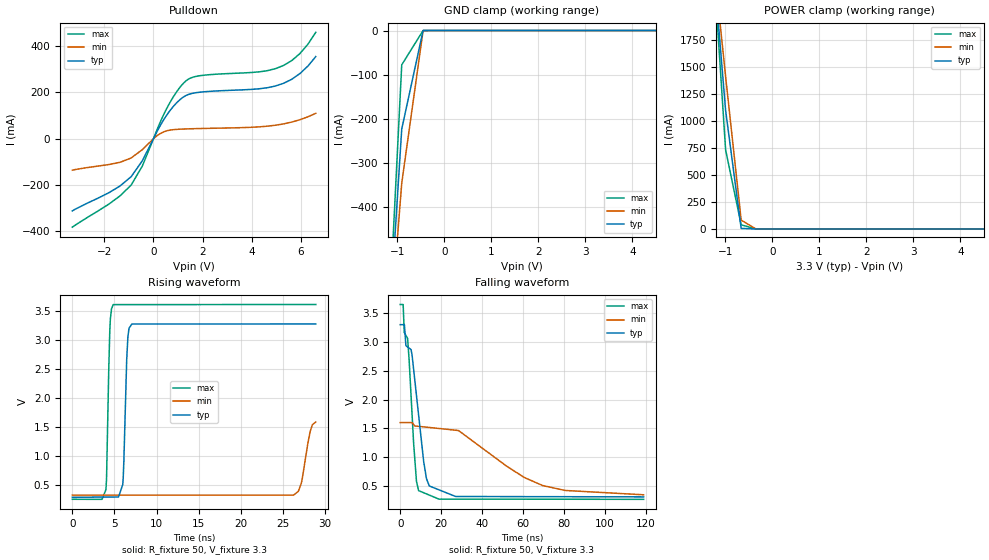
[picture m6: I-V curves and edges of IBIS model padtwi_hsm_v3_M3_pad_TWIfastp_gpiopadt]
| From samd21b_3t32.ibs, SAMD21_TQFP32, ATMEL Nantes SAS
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|   MODEL : padtwi_hsm_v3_M3_pad_TWIfastp_gpiopadt
[Model] padtwi_hsm_v3_M3_pad_TWIfastp_gpiopadt
Model_type I/O_open_sink
Vinl  =  0.99
Vinh  =  2.31
Vmeas =  1.650
| Capacitance   typ   min   max
C_comp   2.23028031852e-12   2.18517971039e-12   2.39294312131e-12
| Variables   typ   min   max
[GND Clamp Reference]   0   0   0
[POWER Clamp Reference]   3.3   1.6   3.65
[Pulldown Reference]   0   0   0
[Pullup Reference]   3.3   1.6   3.65
[Temperature Range]   25   105   -40
[Voltage Range]   3.3   1.6   3.65
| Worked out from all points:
|   slope of the pulldown table from 0 to 0.495 V, typ, clamps not added: 5.21 ohm
|   rising waveform, R_fixture 50, V_fixture 3.3: 20-80 % time 351ps typ, 867ps min, 301ps max; typ from 0.294 V to 3.29 V
|   falling waveform, R_fixture 50, V_fixture 3.3: 20-80 % time 5.53ns typ, 31.1ns min, 3.4ns max; typ from 3.3 V to 0.311 V
[GND Clamp]
| Voltage   I(typ)   I(min)   I(max)
-3.3V     -4.288A    -3.659A    -5.225A
-1.364V   -989.3mA   -964.6mA   -1.051A
-909.1mV  -223.9mA   -346.9mA   -77.99mA
-454.5mV  -44.57uA   -143.5uA   -23.5uA
6.6V      0A         0A         0A
[POWER Clamp]
| Voltage   I(typ)   I(min)   I(max)
-3.3V     13.48A     11.29A     16.51A
-1.327V   2.843A     2.803A     2.962A
-995.5mV  1.1A       1.415A     734.3mA
-663.6mV  4.961mA    82.03mA    38.25mA
-350mV    12.03uA    42.13uA    545.4uA
6.6V      0A         0A         0A
[Pulldown]
| Voltage   I(typ)   I(min)   I(max)
-3.3V     -311.4mA   -135.7mA   -381.5mA
-1.818V   -233.1mA   -111.4mA   -282.3mA
-909.1mV  -163.8mA   -83.09mA   -200.2mA
-454.5mV  -95.24mA   -47.01mA   -118.2mA
154.7mV   33.11mA    13.69mA    41.69mA
567.2mV   106.3mA    35.06mA    136.3mA
979.7mV   159.1mA    40.78mA    208.3mA
1.341V    187.7mA    42.57mA    251.5mA
1.959V    201.9mA    44.39mA    273.3mA
4.959V    227.7mA    58.48mA    302.6mA
5.955V    281.3mA    82.22mA    367.7mA
6.6V      354.8mA    110mA      459.6mA
[Ramp]
dV/dt_r   1.80387/0.354664n  0.76145/0.872984n  2.03465/0.304921n
dV/dt_f   1.80387/5.5809n  0.761452/31.7496n  2.03465/3.41334n
R_load = 50
[Rising Waveform]
R_fixture = 50
V_fixture = 3.3
V_fixture_min = 1.6
V_fixture_max = 3.65
| Time   V(typ)   V(min)   V(max)
0s        293.5mV    330.9mV    258.9mV
3.99ns    297.1mV    330.9mV    423.9mV
4.062ns   297.2mV    330.9mV    611mV
4.447ns   297.5mV    330.9mV    3.164V
4.861ns   297.9mV    330.9mV    3.618V
5.986ns   512.3mV    330.9mV    3.618V
6.598ns   3.068V     330.9mV    3.619V
7.07ns    3.284V     330.9mV    3.619V
26.26ns   3.285V     330.8mV    3.62V
28.9ns    3.285V     1.592V     3.62V
[Falling Waveform]
R_fixture = 50
V_fixture = 3.3
V_fixture_min = 1.6
V_fixture_max = 3.65
| Time   V(typ)   V(min)   V(max)
0s        3.3V       1.6V       3.65V
1.429ns   3.301V     1.6V       3.65V
1.952ns   3.301V     1.6V       3.164V
3.59ns    2.913V     1.6V       3.061V
6.556ns   2.519V     1.564V     1.233V
8.976ns   1.731V     1.535V     419mV
14.19ns   499.7mV    1.515V     341.5mV
27.06ns   317.2mV    1.468V     271.2mV
69.55ns   314.2mV    507.8mV    269.6mV
119ns     310.7mV    346.6mV    267.8mV
